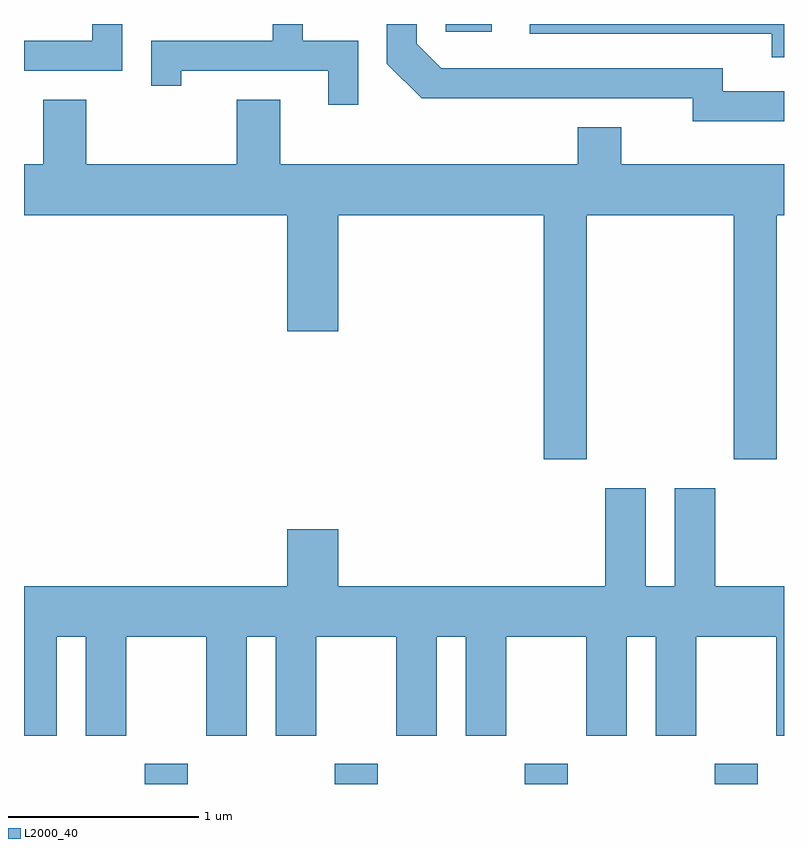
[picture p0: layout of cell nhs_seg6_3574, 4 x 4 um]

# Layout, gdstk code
import gdstk
lib = gdstk.Library(unit=1e-6, precision=1e-09)
def R(c, l, rs):  # rectangles x0, y0, x1, y1
    for r in rs: c.add(gdstk.rectangle(r[:2], r[2:], *l))
def A(c, l, x, y, w, h, nx, ny, dx, dy):  # array of equal rectangles
    R(c, l, [(x+i*dx, y+j*dy, x+i*dx+w, y+j*dy+h) for i in range(nx) for j in range(ny)])
def P(c, l, *ps):  # polygons
    for p in ps: c.add(gdstk.Polygon(p, *l))
L2000_40 = (2000, 40)

nhs_seg6_3574 = lib.new_cell('nhs_seg6_3574')
A(nhs_seg6_3574, L2000_40, 294.246, 1538.162, 0.228, 0.107, 4, 1, 1, 0)
R(nhs_seg6_3574, L2000_40, [(295.831,1542.121,296.073,1542.162)])
P(nhs_seg6_3574, L2000_40, [(297.611,1541.809),(297.289,1541.809),(297.289,1541.929),(295.807,1541.929),(295.679,1542.057),(295.679,1542.162),(295.521,1542.162),(295.521,1541.954),(295.704,1541.771),(297.131,1541.771),(297.131,1541.651),(297.611,1541.651)],
  [(297.611,1542.162),(296.273,1542.162),(296.273,1542.111),(297.546,1542.111),(297.546,1541.988),(297.611,1541.988)],
  [(295.369,1542.074),(295.079,1542.074),(295.079,1542.162),(294.921,1542.162),(294.921,1542.074),(294.281,1542.074),(294.281,1541.838),(294.439,1541.838),(294.439,1541.916),(295.211,1541.916),(295.211,1541.738),(295.369,1541.738)],
  [(294.129,1542.162),(293.971,1542.162),(293.971,1542.074),(293.611,1542.074),(293.611,1541.916),(294.129,1541.916)],
  [(293.711,1541.764),(293.711,1541.424),(293.611,1541.424),(293.611,1541.156),(294.996,1541.156),(294.996,1540.546),(295.264,1540.546),(295.264,1541.156),(296.346,1541.156),(296.346,1539.871),(296.574,1539.871),(296.574,1541.156),(297.346,1541.156),(297.346,1539.871),(297.574,1539.871),(297.574,1541.156),(297.611,1541.156),(297.611,1541.424),(296.754,1541.424),(296.754,1541.619),(296.526,1541.619),(296.526,1541.424),(294.959,1541.424),(294.959,1541.764),(294.731,1541.764),(294.731,1541.424),(293.939,1541.424),(293.939,1541.764)],
  [(297.036,1539.719),(297.036,1539.204),(296.884,1539.204),(296.884,1539.719),(296.671,1539.719),(296.671,1539.204),(295.264,1539.204),(295.264,1539.504),(294.996,1539.504),(294.996,1539.204),(293.611,1539.204),(293.611,1538.416),(293.784,1538.416),(293.784,1538.936),(293.936,1538.936),(293.936,1538.416),(294.149,1538.416),(294.149,1538.936),(294.571,1538.936),(294.571,1538.416),(294.784,1538.416),(294.784,1538.936),(294.936,1538.936),(294.936,1538.416),(295.149,1538.416),(295.149,1538.936),(295.571,1538.936),(295.571,1538.416),(295.784,1538.416),(295.784,1538.936),(295.936,1538.936),(295.936,1538.416),(296.149,1538.416),(296.149,1538.936),(296.571,1538.936),(296.571,1538.416),(296.784,1538.416),(296.784,1538.936),(296.936,1538.936),(296.936,1538.416),(297.149,1538.416),(297.149,1538.936),(297.571,1538.936),(297.571,1538.416),(297.611,1538.416),(297.611,1539.204),(297.249,1539.204),(297.249,1539.719)])

lib.write_gds('nhs_seg6_3574.gds')
